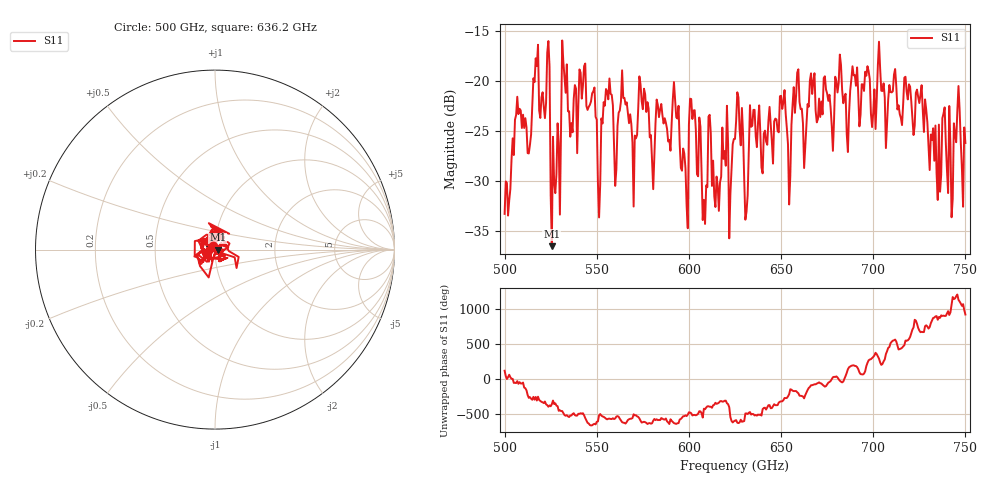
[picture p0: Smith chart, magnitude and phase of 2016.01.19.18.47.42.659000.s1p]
!Created with skrf (http://scikit-rf.org).
# GHz S RI R 50.0
!freq ReS11 ImS11
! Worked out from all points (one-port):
!   401 points, 500 GHz to 750 GHz, reference 50 ohm
!   lowest |S11| = -36.6 dB at 525.6 GHz (marker M1), VSWR 1.03, Z = 51.5 - j0.112 ohm
!   |S11| at or under -10 dB: start of sweep to end of sweep
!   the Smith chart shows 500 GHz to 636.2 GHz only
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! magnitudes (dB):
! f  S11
! 500 GHz  -33.3
! 506.9 GHz  -21.6
! 513.8 GHz  -26.4
! 516.9 GHz  -17.8
! 523.1 GHz  -17.2
! 525.6 GHz  -36.6
! 531.2 GHz  -16.0
! 542.5 GHz  -20.5
! 551.9 GHz  -30.3
! 555.6 GHz  -21.1
! 560.6 GHz  -28.9
! 562.5 GHz  -23.0
! 574.4 GHz  -22.1
! 580 GHz  -28.0
! 593.8 GHz  -23.8
! 598.1 GHz  -28.7
! 601.9 GHz  -23.8
! 608.8 GHz  -34.3
! 610.6 GHz  -23.6
! 615 GHz  -29.6
! 625 GHz  -25.8
! 631.2 GHz  -33.1
! 634.4 GHz  -24.5
! 656.2 GHz  -22.4
! 687.5 GHz  -21.0
! 718.8 GHz  -21.9
! 735.6 GHz  -24.4
! 750 GHz  -26.2
